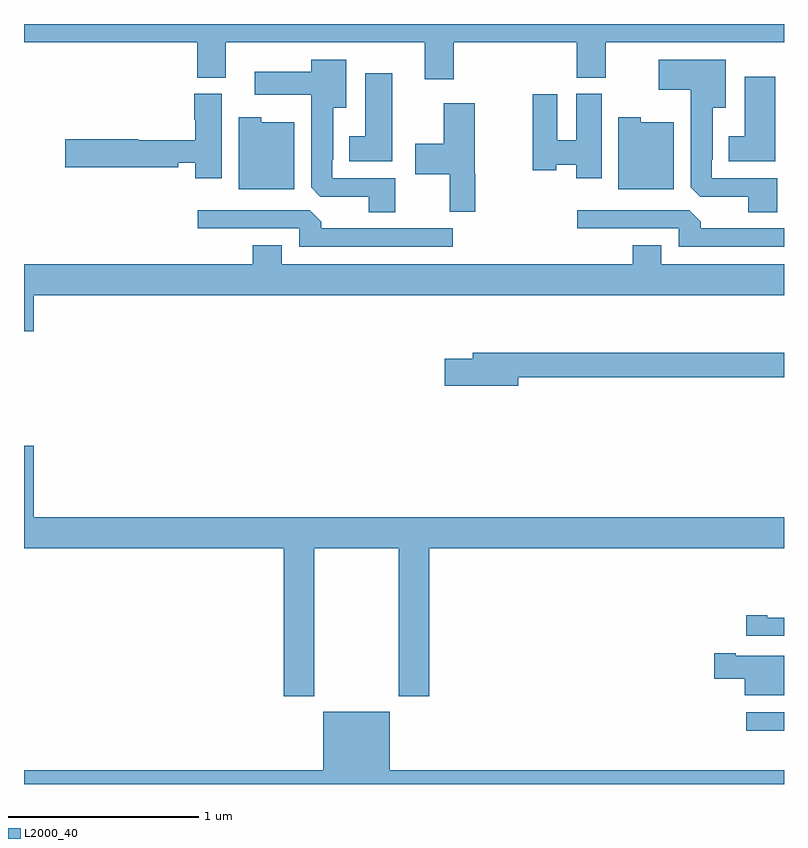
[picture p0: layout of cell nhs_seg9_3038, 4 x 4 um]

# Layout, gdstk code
import gdstk
lib = gdstk.Library(unit=1e-6, precision=1e-09)
def R(c, l, rs):  # rectangles x0, y0, x1, y1
    for r in rs: c.add(gdstk.rectangle(r[:2], r[2:], *l))
def P(c, l, *ps):  # polygons
    for p in ps: c.add(gdstk.Polygon(p, *l))
L2000_40 = (2000, 40)

nhs_seg9_3038 = lib.new_cell('nhs_seg9_3038')
R(nhs_seg9_3038, L2000_40, [(288.801,1208.781,289,1208.877)])
P(nhs_seg9_3038, L2000_40, [(287.261,1212.404),(287.909,1212.404),(287.909,1212.217),(288.061,1212.217),(288.061,1212.404),(289,1212.404),(289,1212.5),(285,1212.5),(285,1212.404),(285.911,1212.404),(285.911,1212.217),(286.063,1212.217),(286.063,1212.404),(287.108,1212.404),(287.108,1212.21),(287.261,1212.21)],
  [(288.965,1211.688),(288.621,1211.688),(288.621,1211.785),(288.625,1211.785),(288.625,1212.059),(288.694,1212.059),(288.694,1212.313),(288.342,1212.313),(288.342,1212.155),(288.509,1212.155),(288.509,1211.641),(288.558,1211.592),(288.812,1211.592),(288.812,1211.509),(288.965,1211.509)],
  [(286.954,1211.688),(286.623,1211.688),(286.623,1211.785),(286.627,1211.785),(286.627,1212.059),(286.696,1212.059),(286.696,1212.313),(286.511,1212.313),(286.511,1212.25),(286.215,1212.25),(286.215,1212.128),(286.511,1212.128),(286.511,1211.641),(286.56,1211.592),(286.814,1211.592),(286.814,1211.509),(286.954,1211.509)],
  [(286.939,1212.241),(286.796,1212.241),(286.796,1211.908),(286.712,1211.908),(286.712,1211.777),(286.939,1211.777)],
  [(288.955,1212.223),(288.794,1212.223),(288.794,1211.908),(288.71,1211.908),(288.71,1211.777),(288.955,1211.777)],
  [(288.04,1212.132),(287.906,1212.132),(287.906,1211.889),(287.806,1211.889),(287.806,1212.13),(287.677,1212.13),(287.677,1211.729),(287.802,1211.729),(287.802,1211.759),(287.906,1211.759),(287.906,1211.688),(288.04,1211.688)],
  [(286.042,1212.132),(285.896,1212.132),(285.896,1211.996),(285.901,1211.996),(285.901,1211.888),(285.6,1211.888),(285.6,1211.894),(285.216,1211.894),(285.216,1211.747),(285.812,1211.747),(285.812,1211.77),(285.901,1211.77),(285.901,1211.688),(286.042,1211.688)],
  [(287.375,1211.712),(287.373,1211.712),(287.373,1212.082),(287.21,1212.082),(287.21,1211.871),(287.058,1211.871),(287.058,1211.708),(287.24,1211.708),(287.24,1211.511),(287.375,1211.511)],
  [(286.423,1211.983),(286.248,1211.983),(286.248,1212.01),(286.13,1212.01),(286.13,1211.63),(286.423,1211.63)],
  [(288.421,1211.983),(288.246,1211.983),(288.246,1212.01),(288.128,1212.01),(288.128,1211.63),(288.421,1211.63)],
  [(289,1211.424),(288.563,1211.424),(288.563,1211.458),(288.501,1211.52),(287.913,1211.52),(287.913,1211.424),(288.447,1211.424),(288.447,1211.328),(289,1211.328)],
  [(287.257,1211.424),(286.565,1211.424),(286.565,1211.458),(286.503,1211.52),(285.915,1211.52),(285.915,1211.424),(286.449,1211.424),(286.449,1211.328),(287.257,1211.328)],
  [(285.052,1211.072),(289,1211.072),(289,1211.236),(288.355,1211.236),(288.355,1211.335),(288.203,1211.335),(288.203,1211.236),(286.357,1211.236),(286.357,1211.335),(286.205,1211.335),(286.205,1211.236),(285,1211.236),(285,1210.884),(285.052,1210.884)],
  [(287.602,1210.642),(289,1210.642),(289,1210.771),(287.363,1210.771),(287.363,1210.737),(287.214,1210.737),(287.214,1210.595),(287.602,1210.595)],
  [(286.527,1209.74),(286.972,1209.74),(286.972,1208.961),(287.132,1208.961),(287.132,1209.74),(289,1209.74),(289,1209.904),(285.052,1209.904),(285.052,1210.279),(285,1210.279),(285,1209.74),(286.367,1209.74),(286.367,1208.961),(286.527,1208.961)],
  [(289,1209.375),(288.913,1209.375),(288.913,1209.388),(288.801,1209.388),(288.801,1209.279),(289,1209.279)],
  [(289,1209.175),(288.745,1209.175),(288.745,1209.188),(288.633,1209.188),(288.633,1209.053),(288.794,1209.053),(288.794,1208.966),(289,1208.966)],
  [(289,1208.572),(286.924,1208.572),(286.924,1208.881),(286.574,1208.881),(286.574,1208.572),(285,1208.572),(285,1208.5),(289,1208.5)])

lib.write_gds('nhs_seg9_3038.gds')
